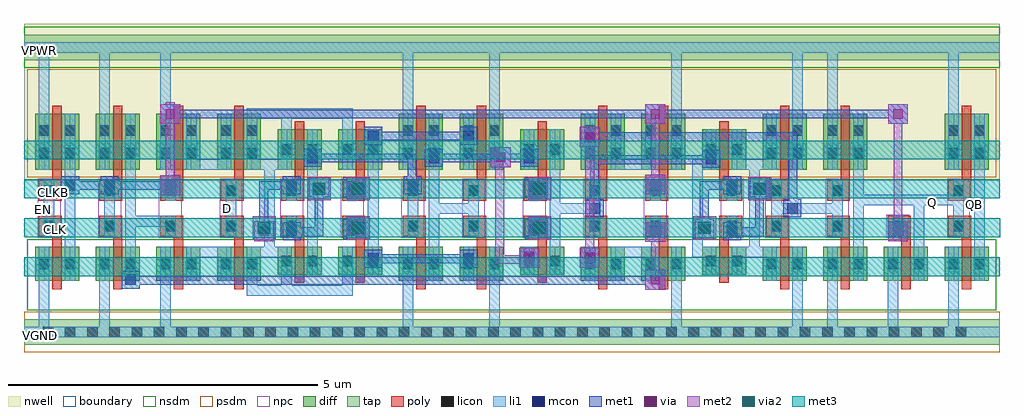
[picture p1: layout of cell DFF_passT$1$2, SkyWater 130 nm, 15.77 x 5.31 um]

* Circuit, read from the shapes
.subckt DFF_passT$1$2 CLK CLKB D EN Q QB VGND VPWR
XM1 n1 EN VGND VGND sky130_fd_pr__nfet_01v8 w=0.55 l=0.15
XM2 n2 n1 VGND VGND sky130_fd_pr__nfet_01v8 w=0.55 l=0.15
XM3 n3 n2 VGND VGND sky130_fd_pr__nfet_01v8 w=0.55 l=0.15
XM4 n4 D n3 VGND sky130_fd_pr__nfet_01v8 w=0.55 l=0.15
XM5 n5 CLKB n4 VGND sky130_fd_pr__nfet_01v8 w=0.45 l=0.15
XM6 n6 CLK n4 VGND sky130_fd_pr__nfet_01v8 w=0.45 l=0.15
XM7 n7 n5 VGND VGND sky130_fd_pr__nfet_01v8 w=0.55 l=0.15
XM8 VGND n7 n6 VGND sky130_fd_pr__nfet_01v8 w=0.55 l=0.15
XM9 n8 CLK n7 VGND sky130_fd_pr__nfet_01v8 w=0.45 l=0.15
XM10 n9 n8 n10 VGND sky130_fd_pr__nfet_01v8 w=0.55 l=0.15
XM11 VGND n2 n9 VGND sky130_fd_pr__nfet_01v8 w=0.55 l=0.15
XM12 n11 CLKB n8 VGND sky130_fd_pr__nfet_01v8 w=0.45 l=0.15
XM13 VGND n10 n11 VGND sky130_fd_pr__nfet_01v8 w=0.55 l=0.15
XM14 Q n10 VGND VGND sky130_fd_pr__nfet_01v8 w=0.55 l=0.15
XM15 Q n1 VGND VGND sky130_fd_pr__nfet_01v8 w=0.55 l=0.15
XM16 QB Q VGND VGND sky130_fd_pr__nfet_01v8 w=0.55 l=0.15
XM17 n1 EN VPWR n12 sky130_fd_pr__pfet_01v8 w=0.9 l=0.15
XM18 n2 n1 VPWR n12 sky130_fd_pr__pfet_01v8 w=0.9 l=0.15
XM19 n13 n1 VPWR n12 sky130_fd_pr__pfet_01v8 w=0.9 l=0.15
XM20 n4 D n13 n12 sky130_fd_pr__pfet_01v8 w=0.9 l=0.15
XM21 n5 CLK n4 n12 sky130_fd_pr__pfet_01v8 w=0.65 l=0.15
XM22 n6 CLKB n4 n12 sky130_fd_pr__pfet_01v8 w=0.65 l=0.15
XM23 n7 n5 VPWR n12 sky130_fd_pr__pfet_01v8 w=0.9 l=0.15
XM24 VPWR n7 n6 n12 sky130_fd_pr__pfet_01v8 w=0.9 l=0.15
XM25 n8 CLKB n7 n12 sky130_fd_pr__pfet_01v8 w=0.65 l=0.15
XM26 n14 n8 n10 n12 sky130_fd_pr__pfet_01v8 w=0.9 l=0.15
XM27 VPWR n1 n14 n12 sky130_fd_pr__pfet_01v8 w=0.9 l=0.15
XM28 n11 CLK n8 n12 sky130_fd_pr__pfet_01v8 w=0.65 l=0.15
XM29 VPWR n10 n11 n12 sky130_fd_pr__pfet_01v8 w=0.9 l=0.15
XM30 Q n10 VPWR n12 sky130_fd_pr__pfet_01v8 w=0.9 l=0.15
XM31 QB Q VPWR n12 sky130_fd_pr__pfet_01v8 w=0.9 l=0.15
.ends

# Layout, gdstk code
from math import pi, radians
import gdstk
lib = gdstk.Library(unit=1e-6, precision=1e-09)
def R(c, l, rs):  # rectangles x0, y0, x1, y1
    for r in rs: c.add(gdstk.rectangle(r[:2], r[2:], *l))
def A(c, l, x, y, w, h, nx, ny, dx, dy):  # array of equal rectangles
    R(c, l, [(x+i*dx, y+j*dy, x+i*dx+w, y+j*dy+h) for i in range(nx) for j in range(ny)])
def P(c, l, *ps):  # polygons
    for p in ps: c.add(gdstk.Polygon(p, *l))
nwell = (64, 20)
diff = (65, 20)
tap = (65, 44)
poly = (66, 20)
licon = (66, 44)
li1 = (67, 20)
mcon = (67, 44)
met1 = (68, 20)
via = (68, 44)
met2 = (69, 20)
via2 = (69, 44)
met3 = (70, 20)
nsdm = (93, 44)
psdm = (94, 20)
npc = (95, 20)
boundary = (235, 4)

contact_1 = lib.new_cell('Contact$1')
R(contact_1, met1, [(-0.16,-0.16,0.16,0.16)])
R(contact_1, via, [(-0.075,-0.075,0.075,0.075)])
R(contact_1, met2, [(-0.16,-0.16,0.16,0.16)])

contact = lib.new_cell('Contact')
R(contact, li1, [(-0.085,-0.085,0.085,0.085)])
R(contact, mcon, [(-0.085,-0.085,0.085,0.085)])
R(contact, met1, [(-0.145,-0.145,0.145,0.145)])

mosfet = lib.new_cell('MOSFET')
R(mosfet, diff, [(-0.145,0,0.565,0.55)])
R(mosfet, poly, [(0.135,-0.13,0.285,0.68)])
R(mosfet, licon, [(-0.085,0.19,0.085,0.36), (0.335,0.19,0.505,0.36)])
R(mosfet, li1, [(-0.085,0,0.085,0.55), (0.335,0,0.505,0.55)])
R(mosfet, nsdm, [(-0.27,-0.125,0.69,0.675)])
R(mosfet, boundary, [(0,0,0.42,0.55)])

mosfet_3 = lib.new_cell('MOSFET$3')
R(mosfet_3, diff, [(-0.145,0,0.565,0.45)])
R(mosfet_3, poly, [(0.135,-0.13,0.285,0.58)])
R(mosfet_3, licon, [(-0.085,0.14,0.085,0.31), (0.335,0.14,0.505,0.31)])
R(mosfet_3, li1, [(-0.085,0,0.085,0.45), (0.335,0,0.505,0.45)])
R(mosfet_3, nsdm, [(-0.27,-0.125,0.69,0.575)])
R(mosfet_3, boundary, [(0,0,0.42,0.45)])

mosfet_2 = lib.new_cell('MOSFET$2')
R(mosfet_2, nwell, [(-0.325,-0.18,0.745,0.83)])
R(mosfet_2, diff, [(-0.145,0,0.565,0.65)])
R(mosfet_2, poly, [(0.135,-0.13,0.285,0.78)])
R(mosfet_2, licon, [(-0.085,0.24,0.085,0.41), (0.335,0.24,0.505,0.41)])
R(mosfet_2, li1, [(-0.085,0,0.085,0.65), (0.335,0,0.505,0.65)])
R(mosfet_2, psdm, [(-0.27,-0.125,0.69,0.775)])
R(mosfet_2, boundary, [(0,0,0.42,0.65)])

contact_5 = lib.new_cell('Contact$5')
R(contact_5, poly, [(-0.165,-0.165,0.165,0.165)])
R(contact_5, licon, [(-0.085,-0.085,0.085,0.085)])
R(contact_5, li1, [(-0.085,-0.165,0.085,0.165)])
R(contact_5, npc, [(-0.185,-0.185,0.185,0.185)])

contact_2 = lib.new_cell('Contact$2')
R(contact_2, met2, [(-0.185,-0.185,0.185,0.185)])
R(contact_2, via2, [(-0.1,-0.1,0.1,0.1)])
R(contact_2, met3, [(-0.165,-0.165,0.165,0.165)])

mosfet_1 = lib.new_cell('MOSFET$1')
R(mosfet_1, nwell, [(-0.325,-0.18,0.745,1.08)])
R(mosfet_1, diff, [(-0.145,0,0.565,0.9)])
R(mosfet_1, poly, [(0.135,-0.13,0.285,1.03)])
R(mosfet_1, licon, [(-0.085,0.185,0.085,0.355), (0.335,0.185,0.505,0.355), (-0.085,0.545,0.085,0.715), (0.335,0.545,0.505,0.715)])
R(mosfet_1, li1, [(-0.085,0,0.085,0.9), (0.335,0,0.505,0.9)])
R(mosfet_1, psdm, [(-0.27,-0.125,0.69,1.025)])
R(mosfet_1, boundary, [(0,0,0.42,0.9)])

contact_11 = lib.new_cell('Contact$11')
R(contact_11, tap, [(-0.205,-7.585,0.205,7.585)])
A(contact_11, licon, -0.085, -7.465, 0.17, 0.17, 1, 42, 0, 0.36)
R(contact_11, li1, [(-0.085,-7.545,0.085,7.545)])
R(contact_11, psdm, [(-0.33,-7.71,0.33,7.71)])

dff_passt_1_2 = lib.new_cell('DFF_passT$1$2')
P(dff_passt_1_2, nwell, [(0,2.775),(0,5.315),(15.77,5.315),(15.77,2.82),(15.77,2.8),(15.77,2.775)])
P(dff_passt_1_2, tap, [(0,0.125),(0,0.535),(15.77,0.535),(15.77,0.465),(15.77,0.125)],
  [(0,4.725),(0,5.135),(15.77,5.135),(15.77,5.065),(15.77,4.725)])
A(dff_passt_1_2, poly, 0.46, 1.835, 0.15, 0.37, 16, 1, 0.98, 0)
A(dff_passt_1_2, poly, 0.46, 2.455, 0.15, 0.37, 14, 1, 0.98, 0)
R(dff_passt_1_2, poly, [(15.16,2.455,15.31,2.825)])
R(dff_passt_1_2, nsdm, [(0.055,0.68,15.715,1.83), (0,4.6,15.77,5.26)])
R(dff_passt_1_2, psdm, [(0,0,15.77,0.66), (0.055,2.83,15.715,4.58)])
A(dff_passt_1_2, npc, 0.22, 1.855, 0.37, 0.95, 11, 1, 0.98, 0)
R(dff_passt_1_2, npc, [(11.26,1.855,11.63,2.805), (11.98,1.855,12.35,2.805), (12.96,1.855,13.33,2.805), (14.92,1.855,15.29,2.805)])
dff_passt_1_2.add(gdstk.FlexPath([(2.285,3.855),(2.285,4.865)], 0.17, ends="flush", simple_path=True, layer=67, datatype=20))  # li1
dff_passt_1_2.add(gdstk.FlexPath([(14.465,1.705),(14.465,2.375)], 0.17, ends="flush", simple_path=True, layer=67, datatype=20))  # li1
dff_passt_1_2.add(gdstk.FlexPath([(13.57,2.46),(15.02,2.46)], 0.17, ends="flush", simple_path=True, layer=67, datatype=20))  # li1
dff_passt_1_2.add(gdstk.FlexPath([(12.25,2.33),(13.06,2.33)], 0.17, ends="flush", simple_path=True, layer=67, datatype=20))  # li1
dff_passt_1_2.add(gdstk.FlexPath([(2.79,1.62),(3.18,1.62)], 0.17, ends="flush", simple_path=True, layer=67, datatype=20))  # li1
dff_passt_1_2.add(gdstk.FlexPath([(3.77,1.62),(4.16,1.62)], 0.17, ends="flush", simple_path=True, layer=67, datatype=20))  # li1
dff_passt_1_2.add(gdstk.FlexPath([(9.65,1.62),(10.04,1.62)], 0.17, ends="flush", simple_path=True, layer=67, datatype=20))  # li1
dff_passt_1_2.add(gdstk.FlexPath([(11.61,1.62),(12,1.62)], 0.17, ends="flush", simple_path=True, layer=67, datatype=20))  # li1
dff_passt_1_2.add(gdstk.FlexPath([(2.79,3.04),(3.18,3.04)], 0.17, ends="flush", simple_path=True, layer=67, datatype=20))  # li1
dff_passt_1_2.add(gdstk.FlexPath([(3.77,3.04),(4.16,3.04)], 0.17, ends="flush", simple_path=True, layer=67, datatype=20))  # li1
dff_passt_1_2.add(gdstk.FlexPath([(9.65,3.04),(10.04,3.04)], 0.17, ends="flush", simple_path=True, layer=67, datatype=20))  # li1
dff_passt_1_2.add(gdstk.FlexPath([(11.61,3.04),(12,3.04)], 0.17, ends="flush", simple_path=True, layer=67, datatype=20))  # li1
dff_passt_1_2.add(gdstk.FlexPath([(3.6,1),(5.225,1),(5.225,1.255)], 0.17, ends="flush", simple_path=True, layer=67, datatype=20))  # li1
dff_passt_1_2.add(gdstk.FlexPath([(4.245,3.605),(4.245,3.775)], 0.17, ends="flush", simple_path=True, layer=67, datatype=20))  # li1
dff_passt_1_2.add(gdstk.FlexPath([(0.325,2.955),(0.325,2.98),(0.325,4.845)], 0.17, ends="flush", simple_path=True, layer=67, datatype=20))  # li1
dff_passt_1_2.add(gdstk.FlexPath([(3.685,1.155),(3.685,1.085)], 0.17, ends="flush", simple_path=True, layer=67, datatype=20))  # li1
dff_passt_1_2.add(gdstk.FlexPath([(0,0.33),(15.77,0.33)], 0.17, ends="flush", simple_path=True, layer=67, datatype=20))  # li1
dff_passt_1_2.add(gdstk.FlexPath([(0,4.93),(15.77,4.93)], 0.17, ends="flush", simple_path=True, layer=67, datatype=20))  # li1
dff_passt_1_2.add(gdstk.FlexPath([(3.6,3.86),(5.225,3.86),(5.225,3.605)], 0.17, ends="flush", simple_path=True, layer=67, datatype=20))  # li1
dff_passt_1_2.add(gdstk.FlexPath([(15.025,1.155),(15.025,0.41)], 0.17, ends="flush", simple_path=True, layer=67, datatype=20))  # li1
dff_passt_1_2.add(gdstk.FlexPath([(4.245,1.255),(4.245,1.085)], 0.17, ends="flush", simple_path=True, layer=67, datatype=20))  # li1
dff_passt_1_2.add(gdstk.FlexPath([(11.19,3.04),(10.885,3.04),(10.885,1.62),(11.19,1.62)], 0.17, ends="flush", simple_path=True, layer=67, datatype=20))  # li1
dff_passt_1_2.add(gdstk.FlexPath([(1.305,2.955),(1.305,4.845)], 0.17, ends="flush", simple_path=True, layer=67, datatype=20))  # li1
dff_passt_1_2.add(gdstk.FlexPath([(0.745,2.955),(0.745,1.705)], 0.17, ends="flush", simple_path=True, layer=67, datatype=20))  # li1
dff_passt_1_2.add(gdstk.FlexPath([(1.725,2.955),(1.725,1.705)], 0.17, ends="flush", simple_path=True, layer=67, datatype=20))  # li1
dff_passt_1_2.add(gdstk.FlexPath([(3.965,2.955),(3.965,1.705)], 0.17, ends="flush", simple_path=True, layer=67, datatype=20))  # li1
dff_passt_1_2.add(gdstk.FlexPath([(4.665,2.955),(4.665,1.705)], 0.17, ends="flush", simple_path=True, layer=67, datatype=20))  # li1
dff_passt_1_2.add(gdstk.FlexPath([(5.645,2.955),(5.645,1.705)], 0.17, ends="flush", simple_path=True, layer=67, datatype=20))  # li1
dff_passt_1_2.add(gdstk.FlexPath([(6.625,2.955),(6.625,1.705)], 0.17, ends="flush", simple_path=True, layer=67, datatype=20))  # li1
dff_passt_1_2.add(gdstk.FlexPath([(8.585,2.955),(8.585,1.705)], 0.17, ends="flush", simple_path=True, layer=67, datatype=20))  # li1
dff_passt_1_2.add(gdstk.FlexPath([(11.805,2.955),(11.805,1.705)], 0.17, ends="flush", simple_path=True, layer=67, datatype=20))  # li1
dff_passt_1_2.add(gdstk.FlexPath([(13.485,2.955),(13.485,1.705)], 0.17, ends="flush", simple_path=True, layer=67, datatype=20))  # li1
dff_passt_1_2.add(gdstk.FlexPath([(15.445,2.955),(15.445,1.705)], 0.17, ends="flush", simple_path=True, layer=67, datatype=20))  # li1
dff_passt_1_2.add(gdstk.FlexPath([(1.305,1.515),(1.305,0.415)], 0.17, ends="flush", simple_path=True, layer=67, datatype=20))  # li1
dff_passt_1_2.add(gdstk.FlexPath([(1.81,2.12),(2.45,2.12)], 0.17, ends="flush", simple_path=True, layer=67, datatype=20))  # li1
dff_passt_1_2.add(gdstk.FlexPath([(6.285,2.465),(6.285,2.205)], 0.17, ends="flush", simple_path=True, layer=67, datatype=20))  # li1
dff_passt_1_2.add(gdstk.FlexPath([(8.67,2.33),(9.14,2.33)], 0.17, ends="flush", simple_path=True, layer=67, datatype=20))  # li1
dff_passt_1_2.add(gdstk.FlexPath([(2.285,1.155),(2.285,0.415)], 0.17, ends="flush", simple_path=True, layer=67, datatype=20))  # li1
dff_passt_1_2.add(gdstk.FlexPath([(6.205,1.155),(6.205,0.415)], 0.17, ends="flush", simple_path=True, layer=67, datatype=20))  # li1
dff_passt_1_2.add(gdstk.FlexPath([(7.605,1.155),(7.605,0.415)], 0.17, ends="flush", simple_path=True, layer=67, datatype=20))  # li1
dff_passt_1_2.add(gdstk.FlexPath([(10.545,1.155),(10.545,0.415)], 0.17, ends="flush", simple_path=True, layer=67, datatype=20))  # li1
dff_passt_1_2.add(gdstk.FlexPath([(12.505,1.155),(12.505,0.415)], 0.17, ends="flush", simple_path=True, layer=67, datatype=20))  # li1
dff_passt_1_2.add(gdstk.FlexPath([(13.065,1.155),(13.065,0.415)], 0.17, ends="flush", simple_path=True, layer=67, datatype=20))  # li1
dff_passt_1_2.add(gdstk.FlexPath([(14.045,1.155),(14.045,0.415)], 0.17, ends="flush", simple_path=True, layer=67, datatype=20))  # li1
dff_passt_1_2.add(gdstk.FlexPath([(6.205,3.855),(6.205,4.845)], 0.17, ends="flush", simple_path=True, layer=67, datatype=20))  # li1
dff_passt_1_2.add(gdstk.FlexPath([(7.605,3.855),(7.605,4.845)], 0.17, ends="flush", simple_path=True, layer=67, datatype=20))  # li1
dff_passt_1_2.add(gdstk.FlexPath([(10.545,3.855),(10.545,4.845)], 0.17, ends="flush", simple_path=True, layer=67, datatype=20))  # li1
dff_passt_1_2.add(gdstk.FlexPath([(12.505,3.855),(12.505,4.845)], 0.17, ends="flush", simple_path=True, layer=67, datatype=20))  # li1
dff_passt_1_2.add(gdstk.FlexPath([(13.065,3.855),(13.065,4.845)], 0.17, ends="flush", simple_path=True, layer=67, datatype=20))  # li1
dff_passt_1_2.add(gdstk.FlexPath([(15.025,3.855),(15.025,4.845)], 0.17, ends="flush", simple_path=True, layer=67, datatype=20))  # li1
dff_passt_1_2.add(gdstk.FlexPath([(7.18,2.33),(6.71,2.33)], 0.17, ends="flush", simple_path=True, layer=67, datatype=20))  # li1
dff_passt_1_2.add(gdstk.FlexPath([(0.325,1.655),(0.325,0.415)], 0.17, ends="flush", simple_path=True, layer=67, datatype=20))  # li1
dff_passt_1_2.add(gdstk.FlexPath([(0.405,2.455),(0.405,2.205)], 0.17, ends="flush", simple_path=True, layer=67, datatype=20))  # li1
dff_passt_1_2.add(gdstk.FlexPath([(1.385,2.455),(1.385,2.205)], 0.17, ends="flush", simple_path=True, layer=67, datatype=20))  # li1
dff_passt_1_2.add(gdstk.FlexPath([(3.345,2.455),(3.345,2.205)], 0.17, ends="flush", simple_path=True, layer=67, datatype=20))  # li1
dff_passt_1_2.add(gdstk.FlexPath([(7.265,2.455),(7.265,2.205)], 0.17, ends="flush", simple_path=True, layer=67, datatype=20))  # li1
dff_passt_1_2.add(gdstk.FlexPath([(9.225,2.455),(9.225,2.205)], 0.17, ends="flush", simple_path=True, layer=67, datatype=20))  # li1
dff_passt_1_2.add(gdstk.FlexPath([(12.165,2.455),(12.165,2.205)], 0.17, ends="flush", simple_path=True, layer=67, datatype=20))  # li1
dff_passt_1_2.add(gdstk.FlexPath([(13.145,2.455),(13.145,2.205)], 0.17, ends="flush", simple_path=True, layer=67, datatype=20))  # li1
dff_passt_1_2.add(gdstk.FlexPath([(15.105,2.455),(15.105,2.205)], 0.17, ends="flush", simple_path=True, layer=67, datatype=20))  # li1
dff_passt_1_2.add(gdstk.FlexPath([(0.89,2.7),(2.22,2.7)], 0.14, ends="flush", simple_path=True, layer=68, datatype=20))  # met1
dff_passt_1_2.add(gdstk.FlexPath([(4.81,3.145),(6.27,3.145),(6.27,2.845)], 0.14, ends="flush", simple_path=True, layer=68, datatype=20))  # met1
dff_passt_1_2.add(gdstk.FlexPath([(10.961,3.115),(9.225,3.115),(9.225,2.455)], 0.14, ends="flush", simple_path=True, layer=68, datatype=20))  # met1
dff_passt_1_2.add(gdstk.FlexPath([(9.29,3.485),(12.425,3.485),(12.425,2.475)], 0.14, ends="flush", simple_path=True, layer=68, datatype=20))  # met1
dff_passt_1_2.add(gdstk.FlexPath([(5.525,1.99),(5.16,1.99)], 0.32, ends="flush", simple_path=True, layer=68, datatype=20))  # met1
dff_passt_1_2.add(gdstk.FlexPath([(8.46,1.99),(8.095,1.99)], 0.32, ends="flush", simple_path=True, layer=68, datatype=20))  # met1
dff_passt_1_2.add(gdstk.FlexPath([(4.77,2.54),(4.77,1.95),(4.47,1.95)], 0.14, ends="flush", simple_path=True, layer=68, datatype=20))  # met1
dff_passt_1_2.add(gdstk.FlexPath([(11.89,2.54),(11.89,1.95),(11.59,1.95)], 0.14, ends="flush", simple_path=True, layer=68, datatype=20))  # met1
dff_passt_1_2.add(gdstk.FlexPath([(1.64,1.16),(10.365,1.16)], 0.14, ends="flush", simple_path=True, layer=68, datatype=20))  # met1
dff_passt_1_2.add(gdstk.FlexPath([(4.18,2.7),(3.875,2.7),(3.875,2.12)], 0.14, ends="flush", simple_path=True, layer=68, datatype=20))  # met1
dff_passt_1_2.add(gdstk.FlexPath([(11.3,2.7),(10.995,2.7),(10.995,2.12)], 0.14, ends="flush", simple_path=True, layer=68, datatype=20))  # met1
dff_passt_1_2.add(gdstk.FlexPath([(2.205,3.855),(14.285,3.855)], 0.14, ends="flush", simple_path=True, layer=68, datatype=20))  # met1
dff_passt_1_2.add(gdstk.FlexPath([(5.535,2.67),(5.16,2.67)], 0.32, ends="flush", simple_path=True, layer=68, datatype=20))  # met1
dff_passt_1_2.add(gdstk.FlexPath([(8.47,2.67),(8.095,2.67)], 0.32, ends="flush", simple_path=True, layer=68, datatype=20))  # met1
dff_passt_1_2.add(gdstk.FlexPath([(5.79,1.515),(7.04,1.515)], 0.14, ends="flush", simple_path=True, layer=68, datatype=20))  # met1
dff_passt_1_2.add(gdstk.FlexPath([(6.77,3.145),(8.02,3.145)], 0.14, ends="flush", simple_path=True, layer=68, datatype=20))  # met1
dff_passt_1_2.add(gdstk.FlexPath([(5.79,3.5),(7.04,3.5)], 0.14, ends="flush", simple_path=True, layer=68, datatype=20))  # met1
dff_passt_1_2.add(gdstk.FlexPath([(10.205,1.785),(10.205,1.305)], 0.14, ends="flush", simple_path=True, layer=69, datatype=20))  # met2
dff_passt_1_2.add(gdstk.FlexPath([(9.145,3.5),(9.145,1.575)], 0.14, ends="flush", simple_path=True, layer=69, datatype=20))  # met2
dff_passt_1_2.add(gdstk.FlexPath([(10.205,2.875),(10.205,3.745)], 0.14, ends="flush", simple_path=True, layer=69, datatype=20))  # met2
dff_passt_1_2.add(gdstk.FlexPath([(7.69,3.005),(7.69,1.5),(8.005,1.5)], 0.14, ends="flush", simple_path=True, layer=69, datatype=20))  # met2
dff_passt_1_2.add(gdstk.FlexPath([(2.365,2.845),(2.365,4.045)], 0.14, ends="flush", simple_path=True, layer=69, datatype=20))  # met2
dff_passt_1_2.add(gdstk.FlexPath([(14.125,2.105),(14.125,4.015)], 0.14, ends="flush", simple_path=True, layer=69, datatype=20))  # met2
dff_passt_1_2.add(gdstk.FlexPath([(0,1.385),(15.77,1.385)], 0.3, ends="flush", simple_path=True, layer=70, datatype=20))  # met3
dff_passt_1_2.add(gdstk.FlexPath([(0,2.645),(15.77,2.645)], 0.3, ends="flush", simple_path=True, layer=70, datatype=20))  # met3
dff_passt_1_2.add(gdstk.FlexPath([(0,3.275),(15.77,3.275)], 0.3, ends="flush", simple_path=True, layer=70, datatype=20))  # met3
dff_passt_1_2.add(gdstk.FlexPath([(0,2.015),(15.775,2.015)], 0.3, ends="flush", simple_path=True, layer=70, datatype=20))  # met3
dff_passt_1_2.add(gdstk.Reference(contact_1, (8.165,1.53), x_reflection=True))
dff_passt_1_2.add(gdstk.Reference(contact, (8.165,1.545), x_reflection=True))
dff_passt_1_2.add(gdstk.Reference(mosfet, (0.325,1.155)))
dff_passt_1_2.add(gdstk.Reference(mosfet, (1.305,1.155)))
dff_passt_1_2.add(gdstk.Reference(mosfet, (2.285,1.155)))
dff_passt_1_2.add(gdstk.Reference(mosfet, (3.265,1.155)))
dff_passt_1_2.add(gdstk.Reference(mosfet, (6.205,1.155)))
dff_passt_1_2.add(gdstk.Reference(mosfet, (7.185,1.155)))
dff_passt_1_2.add(gdstk.Reference(mosfet, (9.145,1.155)))
dff_passt_1_2.add(gdstk.Reference(mosfet, (10.125,1.155)))
dff_passt_1_2.add(gdstk.Reference(mosfet, (12.085,1.155)))
dff_passt_1_2.add(gdstk.Reference(mosfet, (13.065,1.155)))
dff_passt_1_2.add(gdstk.Reference(mosfet, (14.045,1.155)))
dff_passt_1_2.add(gdstk.Reference(mosfet, (15.025,1.155)))
dff_passt_1_2.add(gdstk.Reference(mosfet_3, (4.245,1.255)))
dff_passt_1_2.add(gdstk.Reference(mosfet_3, (5.225,1.255)))
dff_passt_1_2.add(gdstk.Reference(mosfet_3, (8.165,1.255)))
dff_passt_1_2.add(gdstk.Reference(mosfet_3, (11.105,1.255)))
dff_passt_1_2.add(gdstk.Reference(mosfet_2, (4.245,2.955)))
dff_passt_1_2.add(gdstk.Reference(mosfet_2, (5.225,2.955)))
dff_passt_1_2.add(gdstk.Reference(mosfet_2, (8.165,2.955)))
dff_passt_1_2.add(gdstk.Reference(mosfet_2, (11.105,2.955)))
dff_passt_1_2.add(gdstk.Reference(contact_5, (0.405,2.04)))
dff_passt_1_2.add(gdstk.Reference(contact_5, (1.385,2.04)))
dff_passt_1_2.add(gdstk.Reference(contact_5, (2.365,2.04)))
dff_passt_1_2.add(gdstk.Reference(contact_5, (3.345,2.04)))
dff_passt_1_2.add(gdstk.Reference(contact_5, (4.325,2.04)))
dff_passt_1_2.add(gdstk.Reference(contact_5, (5.305,2.04)))
dff_passt_1_2.add(gdstk.Reference(contact_5, (6.285,2.04)))
dff_passt_1_2.add(gdstk.Reference(contact_5, (7.265,2.04)))
dff_passt_1_2.add(gdstk.Reference(contact_5, (8.245,2.04)))
dff_passt_1_2.add(gdstk.Reference(contact_5, (9.225,2.04)))
dff_passt_1_2.add(gdstk.Reference(contact_5, (10.205,2.04)))
dff_passt_1_2.add(gdstk.Reference(contact_5, (12.165,2.04)))
dff_passt_1_2.add(gdstk.Reference(contact_5, (13.145,2.04)))
dff_passt_1_2.add(gdstk.Reference(contact_5, (14.125,2.04)))
dff_passt_1_2.add(gdstk.Reference(contact_5, (15.105,2.04)))
dff_passt_1_2.add(gdstk.Reference(contact_5, (0.405,2.62)))
dff_passt_1_2.add(gdstk.Reference(contact_5, (1.385,2.62)))
dff_passt_1_2.add(gdstk.Reference(contact_5, (2.365,2.62)))
dff_passt_1_2.add(gdstk.Reference(contact_5, (3.345,2.62)))
dff_passt_1_2.add(gdstk.Reference(contact_5, (4.325,2.62)))
dff_passt_1_2.add(gdstk.Reference(contact_5, (5.305,2.62)))
dff_passt_1_2.add(gdstk.Reference(contact_5, (6.285,2.62)))
dff_passt_1_2.add(gdstk.Reference(contact_5, (7.265,2.62)))
dff_passt_1_2.add(gdstk.Reference(contact_5, (8.245,2.62)))
dff_passt_1_2.add(gdstk.Reference(contact_5, (9.225,2.62)))
dff_passt_1_2.add(gdstk.Reference(contact_5, (10.205,2.62)))
dff_passt_1_2.add(gdstk.Reference(contact_5, (12.165,2.62)))
dff_passt_1_2.add(gdstk.Reference(contact_5, (13.145,2.62)))
dff_passt_1_2.add(gdstk.Reference(contact_5, (15.105,2.62)))
dff_passt_1_2.add(gdstk.Reference(contact_1, (3.88,1.96), rotation=pi))
dff_passt_1_2.add(gdstk.Reference(contact_1, (5.375,1.99), rotation=pi))
dff_passt_1_2.add(gdstk.Reference(contact_1, (8.31,1.99), rotation=pi))
dff_passt_1_2.add(gdstk.Reference(contact_1, (11,1.99), rotation=pi))
dff_passt_1_2.add(gdstk.Reference(contact_2, (3.88,2.015), rotation=pi))
dff_passt_1_2.add(gdstk.Reference(contact_2, (5.4,2.015), rotation=pi))
dff_passt_1_2.add(gdstk.Reference(contact_2, (8.335,2.015), rotation=pi))
dff_passt_1_2.add(gdstk.Reference(contact_2, (11,2.015), rotation=pi))
dff_passt_1_2.add(gdstk.Reference(contact_5, (11.445,2.04), rotation=pi, x_reflection=True))
dff_passt_1_2.add(gdstk.Reference(contact_5, (11.445,2.62), rotation=pi, x_reflection=True))
dff_passt_1_2.add(gdstk.Reference(contact, (1.725,1.175)))
dff_passt_1_2.add(gdstk.Reference(contact, (5.645,1.515)))
dff_passt_1_2.add(gdstk.Reference(contact, (7.185,1.515)))
dff_passt_1_2.add(gdstk.Reference(contact, (9.145,1.53)))
dff_passt_1_2.add(gdstk.Reference(contact, (10.205,1.96)))
dff_passt_1_2.add(gdstk.Reference(contact, (14.125,1.96)))
dff_passt_1_2.add(gdstk.Reference(contact, (9.225,2.33)))
dff_passt_1_2.add(gdstk.Reference(contact, (12.42,2.33)))
dff_passt_1_2.add(gdstk.Reference(contact, (0.745,2.7)))
dff_passt_1_2.add(gdstk.Reference(contact, (1.385,2.7)))
dff_passt_1_2.add(gdstk.Reference(contact, (2.365,2.7)))
dff_passt_1_2.add(gdstk.Reference(contact, (6.285,2.7)))
dff_passt_1_2.add(gdstk.Reference(contact, (10.205,2.7)))
dff_passt_1_2.add(gdstk.Reference(contact, (11.105,3.13)))
dff_passt_1_2.add(gdstk.Reference(contact, (4.665,3.145)))
dff_passt_1_2.add(gdstk.Reference(contact, (6.625,3.145)))
dff_passt_1_2.add(gdstk.Reference(contact, (8.165,3.145)))
dff_passt_1_2.add(gdstk.Reference(contact, (9.145,3.485)))
dff_passt_1_2.add(gdstk.Reference(contact, (5.645,3.5)))
dff_passt_1_2.add(gdstk.Reference(contact, (7.185,3.5)))
dff_passt_1_2.add(gdstk.Reference(contact_1, (10.205,1.175)))
dff_passt_1_2.add(gdstk.Reference(contact_1, (9.145,1.53)))
dff_passt_1_2.add(gdstk.Reference(contact_1, (10.205,1.945)))
dff_passt_1_2.add(gdstk.Reference(contact_1, (14.125,1.96)))
dff_passt_1_2.add(gdstk.Reference(contact_1, (2.365,2.7)))
dff_passt_1_2.add(gdstk.Reference(contact_1, (10.205,2.715)))
dff_passt_1_2.add(gdstk.Reference(contact_1, (7.705,3.155)))
dff_passt_1_2.add(gdstk.Reference(contact_1, (9.145,3.485)))
dff_passt_1_2.add(gdstk.Reference(contact_1, (2.365,3.855)))
dff_passt_1_2.add(gdstk.Reference(contact_1, (10.205,3.855)))
dff_passt_1_2.add(gdstk.Reference(contact_1, (14.125,3.855)))
dff_passt_1_2.add(gdstk.Reference(contact, (4.325,1.96), rotation=pi, x_reflection=True))
dff_passt_1_2.add(gdstk.Reference(contact, (11.445,1.96), rotation=pi, x_reflection=True))
dff_passt_1_2.add(gdstk.Reference(contact, (5.305,2.685), rotation=pi, x_reflection=True))
dff_passt_1_2.add(gdstk.Reference(contact, (8.24,2.685), rotation=pi, x_reflection=True))
dff_passt_1_2.add(gdstk.Reference(contact, (4.325,2.7), rotation=pi, x_reflection=True))
dff_passt_1_2.add(gdstk.Reference(contact, (11.445,2.7), rotation=pi, x_reflection=True))
dff_passt_1_2.add(gdstk.Reference(contact, (5.305,1.975), rotation=pi))
dff_passt_1_2.add(gdstk.Reference(contact, (8.24,1.975), rotation=pi))
dff_passt_1_2.add(gdstk.Reference(mosfet_1, (0.325,2.955)))
dff_passt_1_2.add(gdstk.Reference(mosfet_1, (1.305,2.955)))
dff_passt_1_2.add(gdstk.Reference(mosfet_1, (2.285,2.955)))
dff_passt_1_2.add(gdstk.Reference(mosfet_1, (3.265,2.955)))
dff_passt_1_2.add(gdstk.Reference(mosfet_1, (6.205,2.955)))
dff_passt_1_2.add(gdstk.Reference(mosfet_1, (7.185,2.955)))
dff_passt_1_2.add(gdstk.Reference(mosfet_1, (9.145,2.955)))
dff_passt_1_2.add(gdstk.Reference(mosfet_1, (10.125,2.955)))
dff_passt_1_2.add(gdstk.Reference(mosfet_1, (12.085,2.955)))
dff_passt_1_2.add(gdstk.Reference(mosfet_1, (13.065,2.955)))
dff_passt_1_2.add(gdstk.Reference(mosfet_1, (15.025,2.955)))
dff_passt_1_2.add(gdstk.Reference(contact_11, (7.765,0.33), rotation=pi/2))
dff_passt_1_2.add(gdstk.Reference(contact_2, (4.77,2.645), rotation=pi, x_reflection=True))
dff_passt_1_2.add(gdstk.Reference(contact_2, (5.4,2.645), rotation=pi, x_reflection=True))
dff_passt_1_2.add(gdstk.Reference(contact_2, (8.335,2.645), rotation=pi, x_reflection=True))
dff_passt_1_2.add(gdstk.Reference(contact_2, (11.89,2.645), rotation=pi, x_reflection=True))
dff_passt_1_2.add(gdstk.Reference(contact_1, (4.77,2.67), rotation=pi, x_reflection=True))
dff_passt_1_2.add(gdstk.Reference(contact_1, (5.375,2.67), rotation=pi, x_reflection=True))
dff_passt_1_2.add(gdstk.Reference(contact_1, (8.31,2.67), rotation=pi, x_reflection=True))
dff_passt_1_2.add(gdstk.Reference(contact_1, (11.89,2.67), rotation=pi, x_reflection=True))
dff_passt_1_2.add(gdstk.Label('D', (3.295,2.32), layer=67, texttype=5))
dff_passt_1_2.add(gdstk.Label('VGND', (0.27,0.275), layer=67, texttype=5))
dff_passt_1_2.add(gdstk.Label('EN', (0.32,2.305), layer=67, texttype=5))
dff_passt_1_2.add(gdstk.Label('QB', (15.36,2.395), layer=67, texttype=5))
dff_passt_1_2.add(gdstk.Label('VPWR', (0.25,4.88), layer=67, texttype=5))
dff_passt_1_2.add(gdstk.Label('Q', (14.68,2.42), layer=67, texttype=5))
dff_passt_1_2.add(gdstk.Label('CLK', (0.515,1.98), layer=70, texttype=5))
dff_passt_1_2.add(gdstk.Label('CLKB', (0.47,2.585), layer=70, texttype=5))

lib.write_gds('DFF_passT_1_2.gds')
